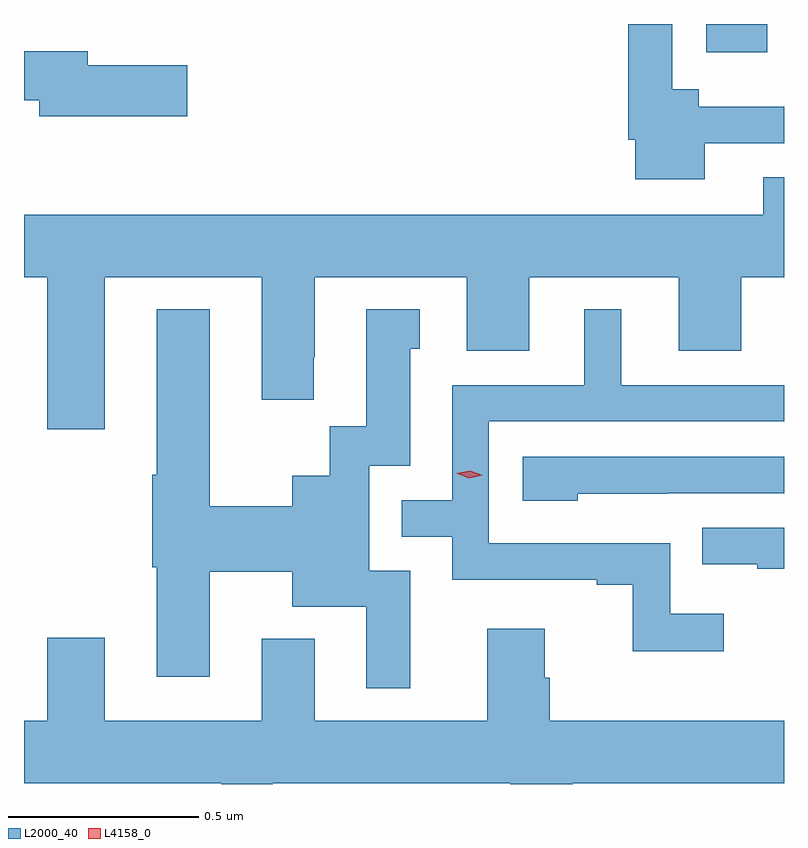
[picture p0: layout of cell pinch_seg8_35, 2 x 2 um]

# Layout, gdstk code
import gdstk
lib = gdstk.Library(unit=1e-6, precision=1e-09)
def R(c, l, rs):  # rectangles x0, y0, x1, y1
    for r in rs: c.add(gdstk.rectangle(r[:2], r[2:], *l))
def P(c, l, *ps):  # polygons
    for p in ps: c.add(gdstk.Polygon(p, *l))
L2000_40 = (2000, 40)
L4158_0 = (4158, 0)

pinch_seg8_35 = lib.new_cell('pinch_seg8_35')
R(pinch_seg8_35, L2000_40, [(978.287,1157.052,978.448,1157.126)])
P(pinch_seg8_35, L2000_40, [(978.283,1156.812),(978.492,1156.812),(978.492,1156.908),(978.268,1156.908),(978.268,1156.954),(978.198,1156.954),(978.198,1157.126),(978.082,1157.126),(978.082,1156.822),(978.101,1156.822),(978.101,1156.718),(978.283,1156.718)],
  [(976.921,1157.018),(976.66,1157.018),(976.66,1157.054),(976.492,1157.054),(976.492,1156.926),(976.532,1156.926),(976.532,1156.883),(976.921,1156.883)],
  [(976.705,1156.46),(977.117,1156.46),(977.117,1156.137),(977.254,1156.137),(977.254,1156.249),(977.257,1156.249),(977.257,1156.46),(977.657,1156.46),(977.657,1156.266),(977.821,1156.266),(977.821,1156.46),(978.215,1156.46),(978.215,1156.266),(978.379,1156.266),(978.379,1156.46),(978.492,1156.46),(978.492,1156.723),(978.437,1156.723),(978.437,1156.624),(976.492,1156.624),(976.492,1156.46),(976.553,1156.46),(976.553,1156.059),(976.705,1156.059)],
  [(977.509,1155.687),(977.4,1155.687),(977.4,1155.963),(977.509,1155.963),(977.509,1156.272),(977.533,1156.272),(977.533,1156.375),(977.393,1156.375),(977.393,1156.068),(977.297,1156.068),(977.297,1155.937),(977.198,1155.937),(977.198,1155.857),(976.981,1155.857),(976.981,1156.375),(976.841,1156.375),(976.841,1155.94),(976.829,1155.94),(976.829,1155.696),(976.841,1155.696),(976.841,1155.408),(976.981,1155.408),(976.981,1155.685),(977.198,1155.685),(977.198,1155.593),(977.393,1155.593),(977.393,1155.378),(977.509,1155.378)],
  [(978.334,1155.574),(978.192,1155.574),(978.192,1155.759),(977.715,1155.759),(977.715,1156.08),(978.492,1156.08),(978.492,1156.176),(978.064,1156.176),(978.064,1156.375),(977.966,1156.375),(977.966,1156.176),(977.619,1156.176),(977.619,1155.873),(977.486,1155.873),(977.486,1155.777),(977.619,1155.777),(977.619,1155.663),(977.999,1155.663),(977.999,1155.651),(978.094,1155.651),(978.094,1155.476),(978.334,1155.476)],
  [(977.949,1155.89),(978.185,1155.89),(978.185,1155.891),(978.492,1155.891),(978.492,1155.987),(977.805,1155.987),(977.805,1155.872),(977.949,1155.872)],
  [(978.492,1155.801),(978.277,1155.801),(978.277,1155.704),(978.421,1155.704),(978.421,1155.693),(978.492,1155.693)],
  [(977.147,1155.128),(977.771,1155.128),(977.771,1155.126),(977.936,1155.126),(977.936,1155.128),(978.492,1155.128),(978.492,1155.292),(977.876,1155.292),(977.876,1155.405),(977.863,1155.405),(977.863,1155.535),(977.711,1155.535),(977.711,1155.292),(977.257,1155.292),(977.257,1155.508),(977.117,1155.508),(977.117,1155.292),(976.705,1155.292),(976.705,1155.511),(976.553,1155.511),(976.553,1155.292),(976.492,1155.292),(976.492,1155.128),(977.011,1155.128),(977.011,1155.126),(977.147,1155.126)])
P(pinch_seg8_35, L4158_0, [(977.664,1155.931),(977.63,1155.944),(977.63,1155.944),(977.63,1155.944),(977.666,1155.951),(977.699,1155.939),(977.699,1155.939),(977.699,1155.938)])

lib.write_gds('pinch_seg8_35.gds')
